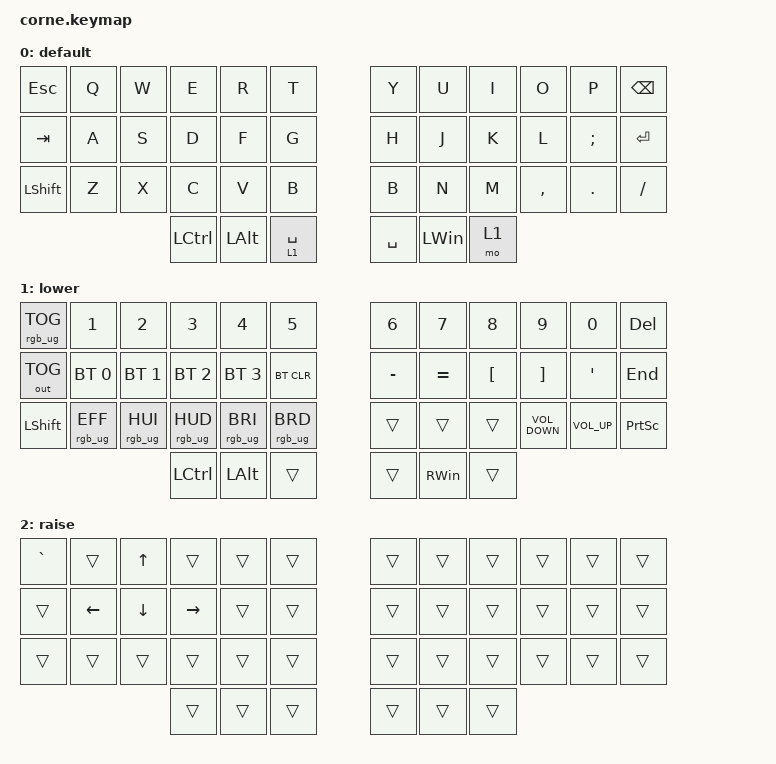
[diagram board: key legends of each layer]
/*
 * Copyright (c) 2020 The ZMK Contributors
 *
 * SPDX-License-Identifier: MIT
 */

#include <behaviors.dtsi>
#include <dt-bindings/zmk/bt.h>
#include <dt-bindings/zmk/keys.h>
#include <dt-bindings/zmk/outputs.h>
#include <dt-bindings/zmk/rgb.h>

&led_strip { chain-length = <27>; };

/ {
    keymap {
        compatible = "zmk,keymap";

        default_layer {
            display-name = "default";
            // -----------------------------------------------------------------------------------------
            // | TAB  |  Q  |  W  |  E  |  R  |  T  |   |  Y  |  U   |  I  |  O  |  P  | BKSP |
            // | CTRL |  A  |  S  |  D  |  F  |  G  |   |  H  |  J   |  K  |  L  |  ;  |  '   |
            // | SHFT |  Z  |  X  |  C  |  V  |  B  |   |  N  |  M   |  ,  |  .  |  /  | ESC  |
            //                    | GUI | LWR | SPC |   | ENT | RSE  | ALT |

            bindings = <
&kp ESC    &kp Q  &kp W  &kp E             &kp R         &kp T          &kp Y      &kp U         &kp I  &kp O      &kp P       &kp BSPC
&kp TAB    &kp A  &kp S  &kp D             &kp F         &kp G          &kp H      &kp J         &kp K  &kp L      &kp SEMI    &kp ENTER
&kp LSHFT  &kp Z  &kp X  &kp C             &kp V         &kp B          &kp B      &kp N         &kp M  &kp COMMA  &kp PERIOD  &kp FSLH
                         &kp LEFT_CONTROL  &kp LEFT_ALT  &lt 1 SPACE    &kp SPACE  &kp LEFT_WIN  &mo 1
            >;
        };

        lower_layer {
            display-name = "lower";
            // -----------------------------------------------------------------------------------------
            // |  TAB |  1  |  2  |  3  |  4  |  5  |   |  6  |  7  |  8  |  9  |  0  | BKSP |
            // | BTCLR| BT1 | BT2 | BT3 | BT4 | BT5 |   | LFT | DWN |  UP | RGT |     |      |
            // | SHFT | RGBT| RGB+|RGB- |     |     |   |     |     |     |     |     |      |
            //                    | GUI |     | SPC |   | ENT |     | ALT |

            bindings = <
&rgb_ug RGB_TOG  &kp N1           &kp N2           &kp N3           &kp N4           &kp N5             &kp N6     &kp N7         &kp N8            &kp N9             &kp N0            &kp DELETE
&out OUT_TOG     &bt BT_SEL 0     &bt BT_SEL 1     &bt BT_SEL 2     &bt BT_SEL 3     &bt BT_CLR         &kp MINUS  &kp EQUAL      &kp LEFT_BRACKET  &kp RIGHT_BRACKET  &kp SINGLE_QUOTE  &kp END
&kp LSHFT        &rgb_ug RGB_EFF  &rgb_ug RGB_HUI  &rgb_ug RGB_HUD  &rgb_ug RGB_BRI  &rgb_ug RGB_BRD    &trans     &trans         &trans            &kp C_VOLUME_DOWN  &kp C_VOLUME_UP   &kp PRINTSCREEN
                                                   &kp LCTRL        &kp LEFT_ALT     &trans             &trans     &kp RIGHT_WIN  &trans
            >;
        };

        raise_layer {
            display-name = "raise";
            // -----------------------------------------------------------------------------------------
            // |  TAB |  !  |  @  |  #  |  $  |  %  |   |  ^  |  &  |  *  |  (  |  )  | BKSP |
            // | CTRL |     |     |     |     |     |   |  -  |  =  |  [  |  ]  |  \  |  `   |
            // | SHFT |     |     |     |     |     |   |  _  |  +  |  {  |  }  | "|" |  ~   |
            //                    | GUI |     | SPC |   | ENT |     | ALT |

            bindings = <
&kp GRAVE  &trans    &kp UP_ARROW    &trans     &trans  &trans    &trans  &trans  &trans  &trans  &trans  &trans
&trans     &kp LEFT  &kp DOWN_ARROW  &kp RIGHT  &trans  &trans    &trans  &trans  &trans  &trans  &trans  &trans
&trans     &trans    &trans          &trans     &trans  &trans    &trans  &trans  &trans  &trans  &trans  &trans
                                     &trans     &trans  &trans    &trans  &trans  &trans
            >;
        };
    };
};
